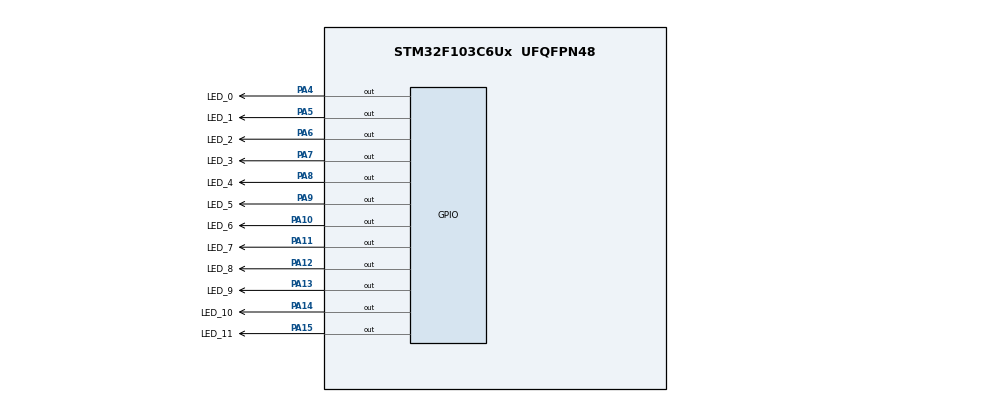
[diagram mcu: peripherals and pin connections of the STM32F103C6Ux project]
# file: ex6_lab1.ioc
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Mcu.Family=STM32F1
Mcu.Name=STM32F103C6Ux
Mcu.Package=UFQFPN48
NVIC.PriorityGroup=NVIC_PRIORITYGROUP_4
PA10.GPIO_Label=LED_6
PA10.Signal=GPIO_Output
PA11.GPIO_Label=LED_7
PA11.Signal=GPIO_Output
PA12.GPIO_Label=LED_8
PA12.Signal=GPIO_Output
PA13.GPIO_Label=LED_9
PA13.Signal=GPIO_Output
PA14.GPIO_Label=LED_10
PA14.Signal=GPIO_Output
PA15.GPIO_Label=LED_11
PA15.Signal=GPIO_Output
PA4.GPIO_Label=LED_0
PA4.Signal=GPIO_Output
PA5.GPIO_Label=LED_1
PA5.Signal=GPIO_Output
PA6.GPIO_Label=LED_2
PA6.Signal=GPIO_Output
PA7.GPIO_Label=LED_3
PA7.Signal=GPIO_Output
PA8.GPIO_Label=LED_4
PA8.Signal=GPIO_Output
PA9.GPIO_Label=LED_5
PA9.Signal=GPIO_Output
ProjectManager.HeapSize=0x200
ProjectManager.StackSize=0x400
ProjectManager.TargetToolchain=STM32CubeIDE
RCC.APB1Freq_Value=8000000
RCC.APB2Freq_Value=8000000
VP_SYS_VS_ND.Mode=No_Debug
board=custom

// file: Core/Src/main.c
/* USER CODE BEGIN Header */
/**
  ******************************************************************************
  * @file           : main.c
  * @brief          : Main program body
  ******************************************************************************
  * @attention
  *
  * <h2><center>&copy; Copyright (c) 2022 STMicroelectronics.
  * All rights reserved.</center></h2>
  *
  * This software component is licensed by ST under BSD 3-Clause license,
  * the "License"; You may not use this file except in compliance with the
  * License. You may obtain a copy of the License at:
  *                        opensource.org/licenses/BSD-3-Clause
  *
  ******************************************************************************
  */
/* USER CODE END Header */
#include "main.h"

void SystemClock_Config(void);
static void MX_GPIO_Init(void);

void displayClock(int num){
		switch(num){
			case 0:
				HAL_GPIO_WritePin(GPIOA, LED_0_Pin , RESET);
				HAL_GPIO_WritePin(GPIOA, LED_1_Pin | LED_2_Pin | LED_3_Pin | LED_4_Pin | LED_5_Pin | LED_6_Pin |
					LED_7_Pin | LED_8_Pin | LED_9_Pin | LED_10_Pin | LED_11_Pin, SET);
				break;
			case 1:
				HAL_GPIO_WritePin(GPIOA, LED_1_Pin , RESET);
				HAL_GPIO_WritePin(GPIOA, LED_0_Pin | LED_2_Pin | LED_3_Pin | LED_4_Pin | LED_5_Pin | LED_6_Pin |
					LED_7_Pin | LED_8_Pin | LED_9_Pin | LED_10_Pin | LED_11_Pin, SET);
				break;
			case 2:
				HAL_GPIO_WritePin(GPIOA, LED_2_Pin, RESET);
				HAL_GPIO_WritePin(GPIOA, LED_0_Pin | LED_1_Pin | LED_3_Pin | LED_4_Pin | LED_5_Pin | LED_6_Pin |
					LED_7_Pin | LED_8_Pin | LED_9_Pin | LED_10_Pin | LED_11_Pin, SET);
				break;
			case 3:
				HAL_GPIO_WritePin(GPIOA, LED_3_Pin , RESET);
				HAL_GPIO_WritePin(GPIOA, LED_0_Pin | LED_1_Pin | LED_2_Pin | LED_4_Pin | LED_5_Pin | LED_6_Pin |
					LED_7_Pin | LED_8_Pin | LED_9_Pin | LED_10_Pin | LED_11_Pin, SET);
				break;
			case 4:
				HAL_GPIO_WritePin(GPIOA, LED_4_Pin, RESET);
				HAL_GPIO_WritePin(GPIOA, LED_0_Pin | LED_1_Pin | LED_2_Pin | LED_3_Pin | LED_5_Pin | LED_6_Pin |
					LED_7_Pin | LED_8_Pin | LED_9_Pin | LED_10_Pin | LED_11_Pin, SET);
				break;
			case 5:
				HAL_GPIO_WritePin(GPIOA, LED_5_Pin, RESET);
				HAL_GPIO_WritePin(GPIOA, LED_0_Pin | LED_1_Pin | LED_2_Pin | LED_3_Pin | LED_4_Pin | LED_6_Pin |
					LED_7_Pin | LED_8_Pin | LED_9_Pin | LED_10_Pin | LED_11_Pin, SET);
				break;
			case 6:
				HAL_GPIO_WritePin(GPIOA, LED_6_Pin, RESET);
				HAL_GPIO_WritePin(GPIOA, LED_0_Pin | LED_1_Pin | LED_2_Pin | LED_3_Pin | LED_4_Pin | LED_5_Pin |
					LED_7_Pin | LED_8_Pin | LED_9_Pin | LED_10_Pin | LED_11_Pin, SET);
				break;
			case 7:
				HAL_GPIO_WritePin(GPIOA, LED_7_Pin, RESET);
				HAL_GPIO_WritePin(GPIOA, LED_0_Pin | LED_1_Pin | LED_2_Pin | LED_3_Pin | LED_4_Pin | LED_5_Pin | LED_6_Pin |
							LED_8_Pin | LED_9_Pin | LED_10_Pin | LED_11_Pin, SET);
				break;
			case 8:
				HAL_GPIO_WritePin(GPIOA, LED_8_Pin, RESET);
				HAL_GPIO_WritePin(GPIOA, LED_0_Pin | LED_1_Pin | LED_2_Pin | LED_3_Pin | LED_4_Pin | LED_5_Pin | LED_6_Pin |
					LED_7_Pin | LED_9_Pin | LED_10_Pin | LED_11_Pin, SET);
				break;
			case 9:
				HAL_GPIO_WritePin(GPIOA, LED_9_Pin, RESET);
				HAL_GPIO_WritePin(GPIOA, LED_0_Pin | LED_1_Pin | LED_2_Pin | LED_3_Pin | LED_4_Pin | LED_5_Pin | LED_6_Pin |
					LED_7_Pin | LED_8_Pin | LED_10_Pin | LED_11_Pin, SET);
				break;
			case 10:
				HAL_GPIO_WritePin(GPIOA, LED_10_Pin , RESET);
				HAL_GPIO_WritePin(GPIOA, LED_0_Pin | LED_1_Pin | LED_2_Pin | LED_3_Pin | LED_4_Pin | LED_5_Pin | LED_6_Pin |
					LED_7_Pin | LED_8_Pin | LED_9_Pin | LED_11_Pin, SET);
				break;
			case 11:
				HAL_GPIO_WritePin(GPIOA, LED_11_Pin, RESET);
				HAL_GPIO_WritePin(GPIOA, LED_0_Pin | LED_1_Pin | LED_2_Pin | LED_3_Pin | LED_4_Pin | LED_5_Pin | LED_6_Pin |
					LED_7_Pin | LED_8_Pin | LED_9_Pin | LED_10_Pin , SET);
				break;
		}
}

void initialClock(){
	HAL_GPIO_WritePin(GPIOA, LED_0_Pin | LED_1_Pin | LED_2_Pin | LED_3_Pin | LED_4_Pin | LED_5_Pin | LED_6_Pin |
				LED_7_Pin | LED_8_Pin | LED_9_Pin | LED_10_Pin | LED_11_Pin, SET);
}
void clearAllClock(){
	HAL_GPIO_WritePin(GPIOA, LED_0_Pin | LED_1_Pin | LED_2_Pin | LED_3_Pin | LED_4_Pin | LED_5_Pin | LED_6_Pin |
			LED_7_Pin | LED_8_Pin | LED_9_Pin | LED_10_Pin | LED_11_Pin, SET);
}
void setNumberOnClock(int num){
	      uint16_t display[12] ={0x001, 0x002, 0x004, 0x008, 0x010, 0x020, 0x040, 0x080,  0x100, 0x200, 0x400, 0x800};
		  uint16_t var;
	      var = display[num];
	      HAL_GPIO_WritePin(GPIOA, var<<4, GPIO_PIN_RESET);
}
void clearNumberOnClock(int num){
	switch(num){
			case 0:
				HAL_GPIO_WritePin(GPIOA, LED_0_Pin , SET);
				break;
			case 1:
				HAL_GPIO_WritePin(GPIOA, LED_1_Pin , SET);
				break;
			case 2:
				HAL_GPIO_WritePin(GPIOA, LED_2_Pin, SET);
				break;
			case 3:
				HAL_GPIO_WritePin(GPIOA, LED_3_Pin , SET);
				break;
			case 4:
				HAL_GPIO_WritePin(GPIOA, LED_4_Pin, SET);
				break;
			case 5:
				HAL_GPIO_WritePin(GPIOA, LED_5_Pin, SET);
				break;
			case 6:
				HAL_GPIO_WritePin(GPIOA, LED_6_Pin, SET);
				break;
			case 7:
				HAL_GPIO_WritePin(GPIOA, LED_7_Pin, SET);
				break;
			case 8:
				HAL_GPIO_WritePin(GPIOA, LED_8_Pin, SET);
				break;
			case 9:
				HAL_GPIO_WritePin(GPIOA, LED_9_Pin, SET);
				break;
			case 10:
				HAL_GPIO_WritePin(GPIOA, LED_10_Pin, SET);
				break;
			case 11:
				HAL_GPIO_WritePin(GPIOA, LED_11_Pin, SET);
				break;
	}
}
int main(void)
{

  /* MCU Configuration--------------------------------------------------------*/

  /* Reset of all peripherals, Initializes the Flash interface and the Systick. */
  HAL_Init();

  /* Configure the system clock */
  SystemClock_Config();

  /* Initialize all configured peripherals */
  MX_GPIO_Init();

  /* Infinite loop */
  /* USER CODE BEGIN WHILE */
  initialClock();
  int second = 50, minute = 5,  hour = 0;
  while (1)
   {
 	  /* USER CODE BEGIN 3 */
     if(second >= 60){
     	second = 0;
     	clearNumberOnClock(11);
     	++minute;
     }

     if(minute >= 60){
     	minute = 0;
     	clearNumberOnClock(11);
     	hour++;
     }

     if(hour >= 24){
     	hour = 0;
     }
     if(second >=0 && second <5) setNumberOnClock(0);
     if(second >=5 && second <10) {
 	if(second == 5) clearNumberOnClock(0);
 	setNumberOnClock(1);
     }
     if(second >=10 && second <15) {
 	if(second == 10) clearNumberOnClock(1);
 	setNumberOnClock(2);
     }
    if(second >=15 && second <20) {
 	if(second == 15) clearNumberOnClock(2);
 	setNumberOnClock(3);
     }
    if(second >=20 && second <25) {
 	if(second == 20) clearNumberOnClock(3);
 	setNumberOnClock(4);
     }
    if(second >=25 && second <30) {
 	if(second == 25) clearNumberOnClock(4);
 	setNumberOnClock(5);
     }
    if(second >=30 && second <35) {
 	if(second == 30) clearNumberOnClock(5);
 	setNumberOnClock(6);
     }
     if(second >=35 && second <40) {
 	if(second == 35) clearNumberOnClock(6);
 	setNumberOnClock(7);
     }
     if(second >=40 && second <45) {
 	if(second == 40) clearNumberOnClock(7);
 	setNumberOnClock(8);
     }
     if(second >=45 && second <50) {
 	if(second == 45) clearNumberOnClock(8);
 	setNumberOnClock(9);
     }
    if(second >=50 && second <55) {
 	if(second == 50) clearNumberOnClock(9);
 	setNumberOnClock(10);
     }
    if(second >=55 && second <60) {
 	if(second == 55) clearNumberOnClock(10);
 	setNumberOnClock(11);
    }
 /*minute*/
     if(minute >=0 && minute <5) setNumberOnClock(0);
     if(minute >=5 && minute <10) {
 	if(minute == 5) clearNumberOnClock(0);
 	setNumberOnClock(1);
     }
     if(minute >=10 && minute <15) {
 	if(minute == 10) clearNumberOnClock(1);
 	setNumberOnClock(2);
     }
    if(minute >=15 && minute <20) {
 	if(minute == 15) clearNumberOnClock(2);
 	setNumberOnClock(3);
     }
    if(minute >=20 && minute <25) {
 	if(minute == 20) clearNumberOnClock(3);
 	setNumberOnClock(4);
     }
    if(minute >=25 && minute <30) {
 	if(minute == 25) clearNumberOnClock(4);
 	setNumberOnClock(5);
     }
    if(minute >=30 && minute <35) {
 	if(minute == 30) clearNumberOnClock(5);
 	setNumberOnClock(6);
     }
     if(minute >=35 && minute <40) {
 	if(minute == 35) clearNumberOnClock(6);
 	setNumberOnClock(7);
     }
     if(minute >=40 && minute <45) {
 	if(minute == 40) clearNumberOnClock(7);
 	setNumberOnClock(8);
     }
     if( minute >=45 && minute <50) {
 	if(minute == 45) clearNumberOnClock(8);
 	setNumberOnClock(9);
     }
    if(minute >=50 && minute <55) {
 	if(minute == 50) clearNumberOnClock(9);
 	setNumberOnClock(10);
     }
    if(minute >=55 && minute <60) {
 	if(minute == 55) clearNumberOnClock(10);
 	setNumberOnClock(11);
    }
 /*hour*/
     switch(hour){
         case 0:
         	setNumberOnClock(0);
         	break;
         case 1:
         	clearNumberOnClock(0);
         	setNumberOnClock(1);
         	break;
         case 2:
         	clearNumberOnClock(1);
         	setNumberOnClock(2);
         	break;
         case 3:
         	clearNumberOnClock(2);
         	setNumberOnClock(3);
         	break;
         case 4:
         	clearNumberOnClock(3);
         	setNumberOnClock(4);
         	break;
         case 5:
         	clearNumberOnClock(4);
         	setNumberOnClock(5);
         	break;
         case 6:
         	clearNumberOnClock(5);
         	setNumberOnClock(6);
         	break;
         case 7:
         	clearNumberOnClock(6);
         	setNumberOnClock(7);
         	break;
         case 8:
         	setNumberOnClock(8);
         	clearNumberOnClock(7);
         	break;
         case 9:
         	clearNumberOnClock(8);
         	setNumberOnClock(9);
         	break;
         case 11:
         	clearNumberOnClock(9);
         	setNumberOnClock(10);
         	break;
         case 12:
             clearNumberOnClock(11);
             setNumberOnClock(0);
             break;
         case 13:
         	clearNumberOnClock(0);
             setNumberOnClock(1);
             break;
         case 14:
         	clearNumberOnClock(1);
             setNumberOnClock(2);
             break;
         case 15:
         	clearNumberOnClock(2);
             setNumberOnClock(3);
             break;
         case 16:
         	clearNumberOnClock(3);
             setNumberOnClock(4);
             break;
         case 17:
         	clearNumberOnClock(4);
             setNumberOnClock(5);
             break;
         case 18:
         	clearNumberOnClock(5);
             setNumberOnClock(6);
             break;
         case 19:
         	clearNumberOnClock(6);
             setNumberOnClock(7);
             break;
         case 20:
         	clearNumberOnClock(7);
             setNumberOnClock(8);
             break;
         case 21:
         	clearNumberOnClock(8);
            	setNumberOnClock(9);
            	break;
         case 22:
         	clearNumberOnClock(9);
             setNumberOnClock(10);
             break;
         case 23:
         	clearNumberOnClock(10);
         	setNumberOnClock(11);
         	break;
         }
     second++;
     HAL_Delay(1000);
   }
  /* USER CODE END 3 */
}

void SystemClock_Config(void)
{
  RCC_OscInitTypeDef RCC_OscInitStruct = {0};
  RCC_ClkInitTypeDef RCC_ClkInitStruct = {0};

  /** Initializes the RCC Oscillators according to the specified parameters
  * in the RCC_OscInitTypeDef structure.
  */
  RCC_OscInitStruct.OscillatorType = RCC_OSCILLATORTYPE_HSI;
  RCC_OscInitStruct.HSIState = RCC_HSI_ON;
  RCC_OscInitStruct.HSICalibrationValue = RCC_HSICALIBRATION_DEFAULT;
  RCC_OscInitStruct.PLL.PLLState = RCC_PLL_NONE;
  if (HAL_RCC_OscConfig(&RCC_OscInitStruct) != HAL_OK)
  {
    Error_Handler();
  }
  /** Initializes the CPU, AHB and APB buses clocks
  */
  RCC_ClkInitStruct.ClockType = RCC_CLOCKTYPE_HCLK|RCC_CLOCKTYPE_SYSCLK
                              |RCC_CLOCKTYPE_PCLK1|RCC_CLOCKTYPE_PCLK2;
  RCC_ClkInitStruct.SYSCLKSource = RCC_SYSCLKSOURCE_HSI;
  RCC_ClkInitStruct.AHBCLKDivider = RCC_SYSCLK_DIV1;
  RCC_ClkInitStruct.APB1CLKDivider = RCC_HCLK_DIV1;
  RCC_ClkInitStruct.APB2CLKDivider = RCC_HCLK_DIV1;

  if (HAL_RCC_ClockConfig(&RCC_ClkInitStruct, FLASH_LATENCY_0) != HAL_OK)
  {
    Error_Handler();
  }
}

static void MX_GPIO_Init(void)
{
  GPIO_InitTypeDef GPIO_InitStruct = {0};

  /* GPIO Ports Clock Enable */
  __HAL_RCC_GPIOA_CLK_ENABLE();

  /*Configure GPIO pin Output Level */
  HAL_GPIO_WritePin(GPIOA, LED_0_Pin|LED_1_Pin|LED_2_Pin|LED_3_Pin
                          |LED_4_Pin|LED_5_Pin|LED_6_Pin|LED_7_Pin
                          |LED_8_Pin|LED_9_Pin|LED_10_Pin|LED_11_Pin, GPIO_PIN_RESET);

  /*Configure GPIO pins : LED_0_Pin LED_1_Pin LED_2_Pin LED_3_Pin
                           LED_4_Pin LED_5_Pin LED_6_Pin LED_7_Pin
                           LED_8_Pin LED_9_Pin LED_10_Pin LED_11_Pin */
  GPIO_InitStruct.Pin = LED_0_Pin|LED_1_Pin|LED_2_Pin|LED_3_Pin
                          |LED_4_Pin|LED_5_Pin|LED_6_Pin|LED_7_Pin
                          |LED_8_Pin|LED_9_Pin|LED_10_Pin|LED_11_Pin;
  GPIO_InitStruct.Mode = GPIO_MODE_OUTPUT_PP;
  GPIO_InitStruct.Pull = GPIO_NOPULL;
  GPIO_InitStruct.Speed = GPIO_SPEED_FREQ_LOW;
  HAL_GPIO_Init(GPIOA, &GPIO_InitStruct);

}

void Error_Handler(void)
{
  __disable_irq();
  while (1)
  {
  }
}

/************************ (C) COPYRIGHT STMicroelectronics *****END OF FILE****/
